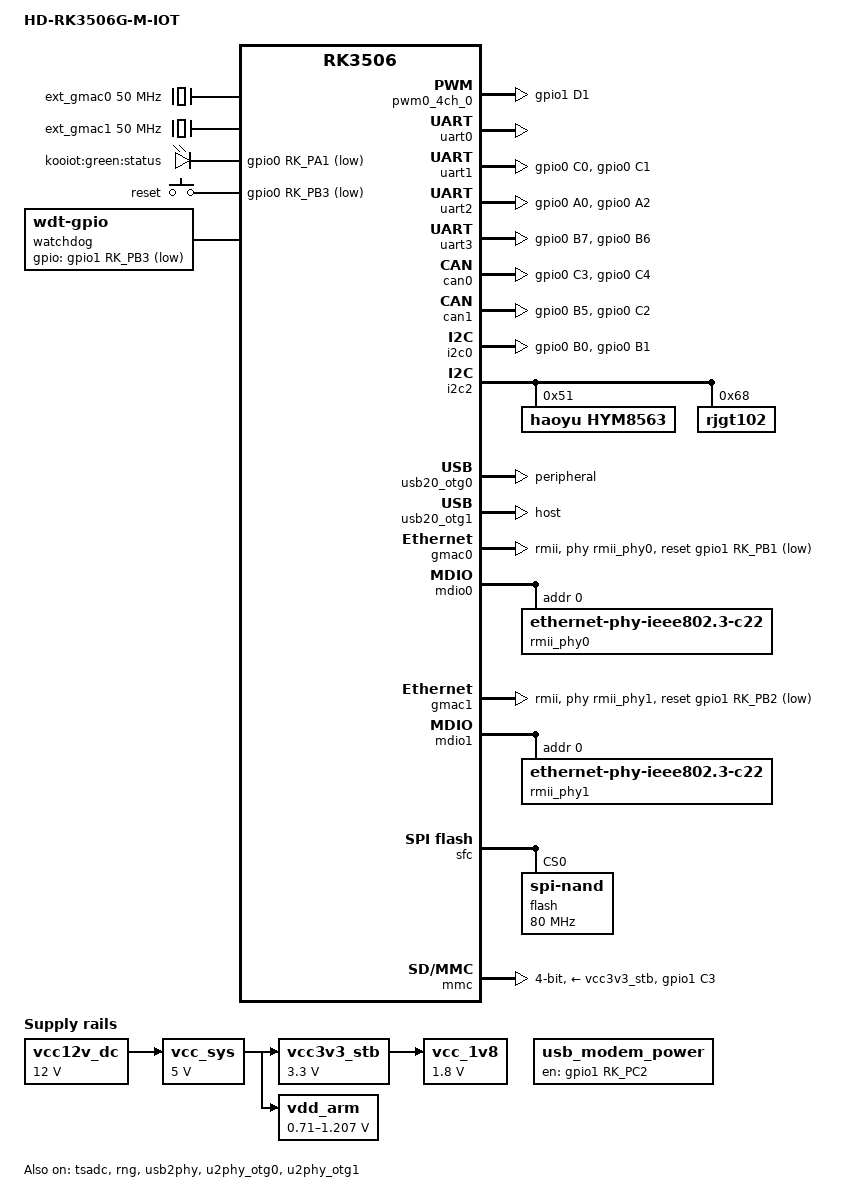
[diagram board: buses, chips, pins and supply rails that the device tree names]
// SPDX-License-Identifier: (GPL-2.0+ OR MIT)
/*
 * Copyright (c) 2026 KooIoT.com
 */

/dts-v1/;

#include <dt-bindings/input/input.h>
#include "rk3506.dtsi"

/ {
	model = "HD-RK3506G-M-IOT";
	compatible = "vanxoak,vx-hd-rk3506g-m-iot", "rockchip,rk3506";
	chosen: chosen {
		stdout-path = "serial0:115200n8";
	};

	aliases {
		serial0 = &uart0;
		serial1 = &uart1;
		serial2 = &uart2;
		serial3 = &uart3;
		ethernet0 = &gmac0;
		ethernet1 = &gmac1;
		i2c0 = &i2c0;
		i2c2 = &i2c2;
		spi0 = &sfc;
	};

	chosen {
		stdout-path = &uart0;
	};

	pwm0_4ch_0: pwm@ff930000 {
		compatible = "rockchip,rk3506-pwm", "rockchip,rk3576-pwm";
		reg = <0xff930000 0x200>;
		interrupts = <GIC_SPI 22 IRQ_TYPE_LEVEL_HIGH>;
		clocks = <&cru CLK_PWM0>, <&cru PCLK_PWM0>, <&cru CLK_OSC_PWM0>;
		clock-names = "pwm", "pclk", "osc";
		#pwm-cells = <3>;
		status = "disabled";
	};

	vcc12v_dc: vcc12v-dc {
		compatible = "regulator-fixed";
		regulator-name = "vcc12v_dc";
		regulator-always-on;
		regulator-boot-on;
		regulator-min-microvolt = <12000000>;
		regulator-max-microvolt = <12000000>;
	};

	vcc_sys: vcc-sys {
		compatible = "regulator-fixed";
		regulator-name = "vcc_sys";
		regulator-always-on;
		regulator-boot-on;
		regulator-min-microvolt = <5000000>;
		regulator-max-microvolt = <5000000>;
		vin-supply = <&vcc12v_dc>;
	};

	vcc3v3_stb: vcc3v3-stb {
		compatible = "regulator-fixed";
		regulator-name = "vcc3v3_stb";
		regulator-always-on;
		regulator-boot-on;
		regulator-min-microvolt = <3300000>;
		regulator-max-microvolt = <3300000>;
		vin-supply = <&vcc_sys>;
	};

	vcc_1v8: vcc-1v8 {
		compatible = "regulator-fixed";
		regulator-name = "vcc_1v8";
		regulator-always-on;
		regulator-boot-on;
		regulator-min-microvolt = <1800000>;
		regulator-max-microvolt = <1800000>;
		vin-supply = <&vcc3v3_stb>;
	};

	vdd_arm: vdd-arm {
		compatible = "pwm-regulator";
		pwms = <&pwm0_4ch_0 0 5000 1>;
		regulator-name = "vdd_arm";
		regulator-min-microvolt = <710000>;
		regulator-max-microvolt = <1207000>;
		regulator-init-microvolt = <1011000>;
		regulator-always-on;
		regulator-boot-on;
		regulator-settling-time-up-us = <250>;
		vin-supply = <&vcc_sys>;
	};

	ext_gmac0: external-gmac-clock-0 {
		compatible = "fixed-clock";
		#clock-cells = <0>;
		clock-frequency = <50000000>;
		clock-output-names = "ext_gmac_0";
	};

	ext_gmac1: external-gmac-clock-1 {
		compatible = "fixed-clock";
		#clock-cells = <0>;
		clock-frequency = <50000000>;
		clock-output-names = "ext_gmac_1";
	};

	leds: leds {
		compatible = "gpio-leds";
		status = "okay";

		status_led: status-led {
			label = "kooiot:green:status";
			gpios = <&gpio0 RK_PA1 GPIO_ACTIVE_LOW>;
			linux,default-trigger = "heartbeat";
		};
	};

	gpio_keys {
		compatible = "gpio-keys";
		pinctrl-names = "default";
		pinctrl-0 = <&key_reset_pin>;

		reset {
			label = "reset";
			linux,code = <KEY_RESTART>;
			gpios = <&gpio0 RK_PB3 GPIO_ACTIVE_LOW>; /* SAI1_SDI RM_IO11 */
		};
	};
	
	gpio_export {
		compatible = "gpio-export";
		#size-cells = <0>;

		/*
		hub_reset {
			gpio-export,name = "hub_reset";
			gpio-export,output=<1>;
			gpios = <&gpio0 RK_PB1 GPIO_ACTIVE_LOW>;
			pinctrl-names = "default";
			pinctrl-0 = <&hub_reset_pin>;
		};
		*/
	};

	/* 默认开启，并可以控制 */
	usb_modem_power: usb-modem-power {
		compatible = "regulator-fixed";
		regulator-name = "modem-pwrkey";
		gpio = <&gpio1 RK_PC2 GPIO_ACTIVE_HIGH>; /* GPIO1_PC2 */
		startup-delay-us = <1000000>;       /* 1s */
		enable-active-high;
		regulator-boot-on;
		regulator-always-on;
	};

	watchdog: watchdog {
		compatible = "linux,wdt-gpio";
		pinctrl-names = "default";
		pinctrl-0 = <&wdi_gpio>;
		gpios = <&gpio1 RK_PB3 GPIO_ACTIVE_LOW>;
		hw_algo = "toggle";
		always-running = "true";
		hw_margin_ms = <1600>;
	};
};

&tsadc {
	status = "okay";
};

&uart0 {
	status = "okay";
};

&uart1 {
	pinctrl-names = "default";
	pinctrl-0 = <&rm_io16_uart1_rx &rm_io17_uart1_tx>;
	status = "okay";
};

&uart2 {
	pinctrl-names = "default";
	pinctrl-0 = <&rm_io0_uart2_rx &rm_io2_uart2_tx>;
	status = "okay";
};

&uart3 {
	pinctrl-names = "default";
	pinctrl-0 = <&rm_io15_uart3_rx &rm_io14_uart3_tx>;
	status = "okay";
};

&can0 {
	rockchip,rx-max-data = <18>;
	assigned-clocks = <&cru CLK_CAN0>;
	assigned-clock-rates = <300000000>;
	pinctrl-0 = <&rm_io19_can0_tx &rm_io20_can0_rx>;
	pinctrl-names = "default";
	status = "okay";
};

&can1 {
	rockchip,rx-max-data = <18>;
	assigned-clocks = <&cru CLK_CAN1>;
	assigned-clock-rates = <300000000>;
	pinctrl-0 = <&rm_io13_can1_tx &rm_io18_can1_rx>;
	pinctrl-names = "default";
	status = "okay";
};

&i2c0 {
	status = "okay";
	pinctrl-names = "default";
	pinctrl-0 = <&rm_io8_i2c0_scl &rm_io9_i2c0_sda>;
};

&i2c2 {
	status = "okay";
	pinctrl-names = "default";
	pinctrl-0 = <&rm_io4_i2c2_scl &rm_io5_i2c2_sda>;

	hym8563: hym8563@51 {
		compatible = "haoyu,hym8563";
		reg = <0x51>;
		status = "okay";
	};

	rjgt102: crypt@68 {
		compatible = "rjgt102";
		reg = <0x68>;
		status = "okay";
	};
};

&rng {
	status = "okay";
};

&sai1 {
	status = "disabled";
};

&usb2phy {
	status = "okay";
};

&u2phy_otg0 {
	status = "okay";
};

&u2phy_otg1 {
	status = "okay";
};

&usb20_otg0 {
	dr_mode = "peripheral";
	status = "okay";
};

&usb20_otg1 {
	dr_mode = "host";
	status = "okay";
};

&gmac0 {
	phy-mode = "rmii";
	clock_in_out = "input";

	snps,reset-gpio = <&gpio1 RK_PB1 GPIO_ACTIVE_LOW>;
	snps,reset-active-low;
	snps,reset-delays-us = <0 20000 100000>;

	// assigned-clocks = <&cru CLK_MAC0_PTP>;
	// assigned-clock-parents = <&ext_gmac0>;

	pinctrl-names = "default";
	pinctrl-0 = <&eth_rmii0_miim_pins
				 &eth_rmii0_tx_bus2_pins
				 &eth_rmii0_rx_bus2_pins
				 &eth_rmii0_clk_pins>;

	phy-handle = <&rmii_phy0>;

	status = "okay";
};

&mdio0 {
	rmii_phy0: phy@0 {
		compatible = "ethernet-phy-ieee802.3-c22";
		motorcomm,led0 = <0x30>;
		motorcomm,led1 = <0x331>;
		reg = <0x0>;
	};
};

&gmac1 {
	phy-mode = "rmii";
	clock_in_out = "input";

	snps,reset-gpio = <&gpio1 RK_PB2 GPIO_ACTIVE_LOW>;
	snps,reset-active-low;
	snps,reset-delays-us = <0 20000 100000>;

	// assigned-clocks = <&cru CLK_MAC1_PTP>;
	// assigned-clock-parents = <&ext_gmac1>;

	pinctrl-names = "default";
	pinctrl-0 = <&eth_rmii1_miim_pins
				 &eth_rmii1_tx_bus2_pins
				 &eth_rmii1_rx_bus2_pins
				 &eth_rmii1_clk_pins>;

	phy-handle = <&rmii_phy1>;
	status = "okay";
};

&mdio1 {
	rmii_phy1: phy@0 {
		compatible = "ethernet-phy-ieee802.3-c22";
		motorcomm,led0 = <0x30>;
		motorcomm,led1 = <0x331>;
		reg = <0x0>;
	};
};

&pwm0_4ch_0 {
	pinctrl-names = "active";
	pinctrl-0 = <&rm_io29_pwm0_ch2>;
	status = "okay";
};

&sfc {
	status = "okay";
	flash: spinand@0 {
		compatible = "spi-nand";
		reg = <0>;
		spi-max-frequency = <80000000>;
		spi-rx-bus-width = <4>;
		spi-tx-bus-width = <1>;
	};
};

&mmc {
	bus-width = <4>;
	cs-gpios = <&gpio1 RK_PC3 GPIO_ACTIVE_LOW>;
	cap-sd-highspeed;
	disable-wp;
	no-sdio;
	no-mmc;
	no-1-8-v;
	pinctrl-names = "default";
	pinctrl-0 = <&sdmmc_clk_pins &sdmmc_cmd_pins &sdmmc_bus4_pins &sdmmc_det_pins>;
	vmmc-supply = <&vcc3v3_stb>;
	vqmmc-supply = <&vcc3v3_stb>;
	status = "okay";
};

&pinctrl {
	headphone {
		hp_det: hp-det {
			rockchip,pins = <1 RK_PA6 RK_FUNC_GPIO &pcfg_pull_none>;
		};
	};
	keys {
		key_reset_pin: key-reset-pin {
			rockchip,pins = <0 RK_PB3 RK_FUNC_GPIO &pcfg_pull_up>;
		};
	};
	leds {
		led_status_pin: led-status-pin {
			rockchip,pins = <0 RK_PA1 RK_FUNC_GPIO &pcfg_pull_none>;
		};
	};
	usb {
		vcc5v0_otg0_en: vcc5v0-otg0-en {
			rockchip,pins = <1 RK_PA2 RK_FUNC_GPIO &pcfg_pull_none>;
		};
		vcc5v0_otg1_en: vcc5v0-otg1-en {
			rockchip,pins = <1 RK_PA1 RK_FUNC_GPIO &pcfg_pull_none>;
		};
		hub_reset_pin: hub-reset-pin {
			rockchip,pins = <0 RK_PB1 RK_FUNC_GPIO &pcfg_pull_none>;
		};
	};
	i2c0 {
		/omit-if-no-ref/
		rm_io8_i2c0_scl: rm-io8-i2c0-scl {
			rockchip,pins =
				<0 RK_PB0 30 &pcfg_pull_none>;
		};

		/omit-if-no-ref/
		rm_io9_i2c0_sda: rm-io9-i2c0-sda {
			rockchip,pins =
				<0 RK_PB1 31 &pcfg_pull_none>;
		};
	};
	uart1 {
		/omit-if-no-ref/
		rm_io16_uart1_rx: rm-io16-uart1-rx {
			rockchip,pins =
				<0 RK_PC0 17 &pcfg_pull_up>;
		};

		/omit-if-no-ref/
		rm_io17_uart1_tx: rm-io17-uart1-tx {
			rockchip,pins =
				<0 RK_PC1 16 &pcfg_pull_none>;
		};
	};
	uart2 {
		/omit-if-no-ref/
		rm_io0_uart2_rx: rm-io0-uart2-rx {
			rockchip,pins =
				<0 RK_PA0 19 &pcfg_pull_up>;
		};
		/omit-if-no-ref/
		rm_io2_uart2_tx: rm-io2-uart2-tx {
			rockchip,pins =
				<0 RK_PA2 18 &pcfg_pull_none>;
		};
	};
	uart3 {
		/omit-if-no-ref/
		rm_io15_uart3_rx: rm-io15-uart3-rx {
			rockchip,pins =
				<0 RK_PB7 21 &pcfg_pull_up>;
		};
		/omit-if-no-ref/
		rm_io14_uart3_tx: rm-io14-uart3-tx {
			rockchip,pins =
				<0 RK_PB6 20 &pcfg_pull_none>;
		};
	};
	can0 {
		/omit-if-no-ref/
		rm_io19_can0_tx: rm-io19-can0-tx {
			rockchip,pins =
				<0 RK_PC3 43 &pcfg_pull_none>;
		};
		/omit-if-no-ref/
		rm_io20_can0_rx: rm-io20-can0-rx {
			rockchip,pins =
				<0 RK_PC4 44 &pcfg_pull_none>;
		};
	};
	can1 {
		/omit-if-no-ref/
		rm_io13_can1_tx: rm-io13-can1-tx {
			rockchip,pins =
				<0 RK_PB5 41 &pcfg_pull_none>;
		};
		/omit-if-no-ref/
		rm_io18_can1_rx: rm-io18-can1-rx {
			rockchip,pins =
				<0 RK_PC2 42 &pcfg_pull_none>;
		};
	};
	watchdog {
		wdi_gpio: wdi_gpio {
			rockchip,pins = <1 RK_PB3 RK_FUNC_GPIO &pcfg_pull_none>;
		};
	};
	sdmmc_det {
		/omit-if-no-ref/
		sdmmc_det_pins: sdmmc-det-pins {
			rockchip,pins =
				/* sdmmc_det */
				<1 RK_PC3 RK_FUNC_GPIO &pcfg_pull_up>;
		};
	};
	pwm {
		/omit-if-no-ref/
		rm_io29_pwm0_ch2: rm-io29-pwm0-ch2 {
			rockchip,pins =
				<1 RK_PD1 47 &pcfg_pull_none_drv_level_1>;
		};
	};

	/omit-if-no-ref/
	pcfg_pull_up_drv_level_3: pcfg-pull-up-drv-level-3 {
		bias-pull-up;
		drive-strength = <3>;
	};

	/omit-if-no-ref/
	pcfg_pull_none_drv_level_1: pcfg-pull-none-drv-level-1 {
		bias-disable;
		drive-strength = <1>;
	};
};

